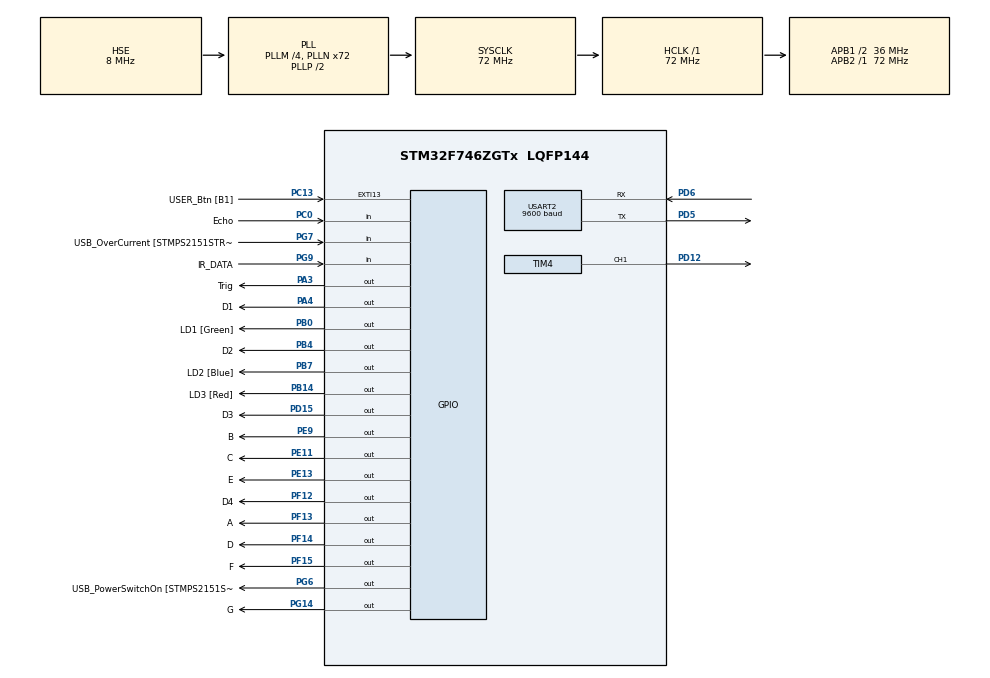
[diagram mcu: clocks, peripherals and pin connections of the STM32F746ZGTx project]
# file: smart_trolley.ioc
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FREERTOS.BinarySemaphores01=Perm,Dynamic,NULL
FREERTOS.Tasks01=defaultTask,0,128,StartDefaultTask,Default,NULL,Dynamic,NULL,NULL;czujnik,1,128,czujnik_init,Default,NULL,Dynamic,NULL,NULL;wyswietlacz,0,128,wyswietlacz_init,Default,NULL,Dynamic,NULL,NULL;pilot,0,128,pilot_init,Default,NULL,Dynamic,NULL,NULL
Mcu.Family=STM32F7
Mcu.Name=STM32F746ZGTx
Mcu.Package=LQFP144
NVIC.PriorityGroup=NVIC_PRIORITYGROUP_4
NVIC.TIM2_IRQn=true\:0\:0\:false\:false\:true\:false\:false\:true
NVIC.TimeBase=TIM2_IRQn
NVIC.TimeBaseIP=TIM2
PA1.GPIO_Label=RMII_REF_CLK [LAN8742A-CZ-TR_REFCLK0]
PA1.Signal=ETH_REF_CLK
PA10.GPIO_Label=USB_ID
PA10.Signal=USB_OTG_FS_ID
PA11.GPIO_Label=USB_DM
PA11.Signal=USB_OTG_FS_DM
PA12.GPIO_Label=USB_DP
PA12.Signal=USB_OTG_FS_DP
PA13.GPIO_Label=TMS
PA13.Mode=Serial_Wire
PA13.Signal=SYS_JTMS-SWDIO
PA14.GPIO_Label=TCK
PA14.Mode=Serial_Wire
PA14.Signal=SYS_JTCK-SWCLK
PA2.GPIO_Label=RMII_MDIO [LAN8742A-CZ-TR_MDIO]
PA2.Signal=ETH_MDIO
PA3.GPIO_Label=Trig
PA3.Signal=GPIO_Output
PA4.GPIO_Label=D1
PA4.Signal=GPIO_Output
PA7.GPIO_Label=RMII_CRS_DV [LAN8742A-CZ-TR_CRS_DV]
PA7.Signal=ETH_CRS_DV
PA8.GPIO_Label=USB_SOF [TP1]
PA8.Signal=USB_OTG_FS_SOF
PA9.GPIO_Label=USB_VBUS
PA9.Signal=USB_OTG_FS_VBUS
PB0.GPIO_Label=LD1 [Green]
PB0.Signal=GPIO_Output
PB13.GPIO_Label=RMII_TXD1 [LAN8742A-CZ-TR_TXD1]
PB13.Signal=ETH_TXD1
PB14.GPIO_Label=LD3 [Red]
PB14.Signal=GPIO_Output
PB3.GPIO_Label=SW0
PB3.Signal=SYS_JTDO-SWO
PB4.GPIO_Label=D2
PB4.Signal=GPIO_Output
PB7.GPIO_Label=LD2 [Blue]
PB7.Signal=GPIO_Output
PC0.GPIO_Label=Echo
PC0.Signal=GPIO_Input
PC1.GPIO_Label=RMII_MDC [LAN8742A-CZ-TR_MDC]
PC1.Signal=ETH_MDC
PC13.GPIO_Label=USER_Btn [B1]
PC13.Signal=GPXTI13
PC14/OSC32_IN.Mode=LSE-External-Oscillator
PC14/OSC32_IN.Signal=RCC_OSC32_IN
PC15/OSC32_OUT.Mode=LSE-External-Oscillator
PC15/OSC32_OUT.Signal=RCC_OSC32_OUT
PC4.GPIO_Label=RMII_RXD0 [LAN8742A-CZ-TR_RXD0]
PC4.Signal=ETH_RXD0
PC5.GPIO_Label=RMII_RXD1 [LAN8742A-CZ-TR_RXD1]
PC5.Signal=ETH_RXD1
PD12.Signal=S_TIM4_CH1
PD15.GPIO_Label=D3
PD15.Signal=GPIO_Output
PD5.Mode=Asynchronous
PD5.Signal=USART2_TX
PD6.Mode=Asynchronous
PD6.Signal=USART2_RX
PD8.GPIO_Label=STLK_RX [STM32F103CBT6_PA3]
PD8.Signal=USART3_TX
PD9.GPIO_Label=STLK_TX [STM32F103CBT6_PA2]
PD9.Signal=USART3_RX
PE11.GPIO_Label=C
PE11.Signal=GPIO_Output
PE13.GPIO_Label=E
PE13.Signal=GPIO_Output
PE9.GPIO_Label=B
PE9.Signal=GPIO_Output
PF12.GPIO_Label=D4
PF12.Signal=GPIO_Output
PF13.GPIO_Label=A
PF13.Signal=GPIO_Output
PF14.GPIO_Label=D
PF14.Signal=GPIO_Output
PF15.GPIO_Label=F
PF15.Signal=GPIO_Output
PG11.GPIO_Label=RMII_TX_EN [LAN8742A-CZ-TR_TXEN]
PG11.Signal=ETH_TX_EN
PG13.GPIO_Label=RMII_TXD0 [LAN8742A-CZ-TR_TXD0]
PG13.Signal=ETH_TXD0
PG14.GPIO_Label=G
PG14.Signal=GPIO_Output
PG6.GPIO_Label=USB_PowerSwitchOn [STMPS2151STR_EN]
PG6.Signal=GPIO_Output
PG7.GPIO_Label=USB_OverCurrent [STMPS2151STR_FAULT]
PG7.Signal=GPIO_Input
PG9.GPIO_Label=IR_DATA
PG9.Signal=GPIO_Input
PH0/OSC_IN.GPIO_Label=MCO [STM32F103CBT6_PA8]
PH0/OSC_IN.Mode=HSE-External-Clock-Source
PH0/OSC_IN.Signal=RCC_OSC_IN
PH1/OSC_OUT.Mode=HSE-External-Clock-Source
PH1/OSC_OUT.Signal=RCC_OSC_OUT
ProjectManager.HeapSize=0x200
ProjectManager.StackSize=0x400
ProjectManager.TargetToolchain=STM32CubeIDE
RCC.48MHZClocksFreq_Value=24000000
RCC.AHBFreq_Value=72000000
RCC.APB1CLKDivider=RCC_HCLK_DIV2
RCC.APB1Freq_Value=36000000
RCC.APB1TimFreq_Value=72000000
RCC.APB2Freq_Value=72000000
RCC.APB2TimFreq_Value=72000000
RCC.CortexFreq_Value=72000000
RCC.HCLKFreq_Value=72000000
RCC.HSE_VALUE=8000000
RCC.HSI_VALUE=16000000
RCC.PLLM=4
RCC.PLLMUL=RCC_PLL_MUL9
RCC.PLLN=72
RCC.PLLQ=3
RCC.PLLSourceVirtual=RCC_PLLSOURCE_HSE
RCC.PRESCALERUSB=RCC_USBCLKSOURCE_PLL_DIV1_5
RCC.SYSCLKFreq_VALUE=72000000
RCC.SYSCLKSource=RCC_SYSCLKSOURCE_PLLCLK
RCC.SYSCLKSourceVirtual=RCC_SYSCLKSOURCE_PLLCLK
RCC.USBFreq_Value=48000000
RCC.VCOOutputFreq_Value=144000000
SH.S_TIM4_CH1.0=TIM4_CH1,PWM Generation1 CH1
TIM1.Period=0xffff-1
TIM1.Prescaler=72-1
TIM3.Period=0xffff-1
TIM3.Prescaler=72-1
TIM4.Channel-PWM\ Generation1\ CH1=TIM_CHANNEL_1
TIM4.Period=20000-1
TIM4.Prescaler=72-1
USART2.BaudRate=9600
USART2.VirtualMode-Asynchronous=VM_ASYNC
VP_FREERTOS_VS_CMSIS_V1.Mode=CMSIS_V1
VP_SYS_VS_tim2.Mode=TIM2
VP_TIM1_VS_ClockSourceINT.Mode=Internal
VP_TIM3_VS_ClockSourceINT.Mode=Internal
board=NUCLEO-F746ZG

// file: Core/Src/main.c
/* USER CODE BEGIN Header */
/**
  ******************************************************************************
  * @file           : main.c
  * @brief          : Main program body
  ******************************************************************************
  * @attention
  *
  * <h2><center>&copy; Copyright (c) 2020 STMicroelectronics.
  * All rights reserved.</center></h2>
  *
  * This software component is licensed by ST under BSD 3-Clause license,
  * the "License"; You may not use this file except in compliance with the
  * License. You may obtain a copy of the License at:
  *                        opensource.org/licenses/BSD-3-Clause
  *
  ******************************************************************************
  */
/* USER CODE END Header */

#include "main.h"
#include "cmsis_os.h"
#include "tim.h"
#include "usart.h"
#include "gpio.h"

void SystemClock_Config(void);
void MX_FREERTOS_Init(void);

int main(void)
{

  /* MCU Configuration--------------------------------------------------------*/

  /* Reset of all peripherals, Initializes the Flash interface and the Systick. */
  HAL_Init();

  /* Configure the system clock */
  SystemClock_Config();

  /* Initialize all configured peripherals */
  MX_GPIO_Init();
  MX_TIM1_Init();
  MX_TIM3_Init();
  MX_TIM4_Init();
  MX_USART2_UART_Init();
  /* USER CODE BEGIN 2 */

  HAL_TIM_Base_Start(&htim1);
  HAL_TIM_Base_Start(&htim3);
  HAL_TIM_PWM_Start(&htim4, TIM_CHANNEL_1);

  /* USER CODE END 2 */

  /* Call init function for freertos objects (in freertos.c) */
  MX_FREERTOS_Init();

  /* Start scheduler */
  osKernelStart();

  /* We should never get here as control is now taken by the scheduler */

  /* Infinite loop */
  while (1)
  {

  }
}

void SystemClock_Config(void)
{
  RCC_OscInitTypeDef RCC_OscInitStruct = {0};
  RCC_ClkInitTypeDef RCC_ClkInitStruct = {0};
  RCC_PeriphCLKInitTypeDef PeriphClkInitStruct = {0};

  /** Configure LSE Drive Capability
  */
  HAL_PWR_EnableBkUpAccess();
  /** Configure the main internal regulator output voltage
  */
  __HAL_RCC_PWR_CLK_ENABLE();
  __HAL_PWR_VOLTAGESCALING_CONFIG(PWR_REGULATOR_VOLTAGE_SCALE3);
  /** Initializes the CPU, AHB and APB busses clocks
  */
  RCC_OscInitStruct.OscillatorType = RCC_OSCILLATORTYPE_HSE;
  RCC_OscInitStruct.HSEState = RCC_HSE_BYPASS;
  RCC_OscInitStruct.PLL.PLLState = RCC_PLL_ON;
  RCC_OscInitStruct.PLL.PLLSource = RCC_PLLSOURCE_HSE;
  RCC_OscInitStruct.PLL.PLLM = 4;
  RCC_OscInitStruct.PLL.PLLN = 72;
  RCC_OscInitStruct.PLL.PLLP = RCC_PLLP_DIV2;
  RCC_OscInitStruct.PLL.PLLQ = 3;
  if (HAL_RCC_OscConfig(&RCC_OscInitStruct) != HAL_OK)
  {
    Error_Handler();
  }
  /** Initializes the CPU, AHB and APB busses clocks
  */
  RCC_ClkInitStruct.ClockType = RCC_CLOCKTYPE_HCLK|RCC_CLOCKTYPE_SYSCLK
                              |RCC_CLOCKTYPE_PCLK1|RCC_CLOCKTYPE_PCLK2;
  RCC_ClkInitStruct.SYSCLKSource = RCC_SYSCLKSOURCE_PLLCLK;
  RCC_ClkInitStruct.AHBCLKDivider = RCC_SYSCLK_DIV1;
  RCC_ClkInitStruct.APB1CLKDivider = RCC_HCLK_DIV2;
  RCC_ClkInitStruct.APB2CLKDivider = RCC_HCLK_DIV1;

  if (HAL_RCC_ClockConfig(&RCC_ClkInitStruct, FLASH_LATENCY_2) != HAL_OK)
  {
    Error_Handler();
  }
  PeriphClkInitStruct.PeriphClockSelection = RCC_PERIPHCLK_USART2;
  PeriphClkInitStruct.Usart2ClockSelection = RCC_USART2CLKSOURCE_PCLK1;
  if (HAL_RCCEx_PeriphCLKConfig(&PeriphClkInitStruct) != HAL_OK)
  {
    Error_Handler();
  }
}

void HAL_TIM_PeriodElapsedCallback(TIM_HandleTypeDef *htim)
{
  if (htim->Instance == TIM2) {
    HAL_IncTick();
  }
}

void Error_Handler(void)
{
}

/************************ (C) COPYRIGHT STMicroelectronics *****END OF FILE****/

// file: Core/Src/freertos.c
/* USER CODE BEGIN Header */
/**
  ******************************************************************************
  * File Name          : freertos.c
  * Description        : Code for freertos applications
  ******************************************************************************
  * @attention
  *
  * <h2><center>&copy; Copyright (c) 2020 STMicroelectronics.
  * All rights reserved.</center></h2>
  *
  * This software component is licensed by ST under Ultimate Liberty license
  * SLA0044, the "License"; You may not use this file except in compliance with
  * the License. You may obtain a copy of the License at:
  *                             www.st.com/SLA0044
  *
  ******************************************************************************
  */
/* USER CODE END Header */

#include "FreeRTOS.h"
#include "task.h"
#include "main.h"
#include "cmsis_os.h"

/* USER CODE BEGIN Includes */

#include "functions.h"

/* USER CODE END Includes */

/* USER CODE BEGIN PM */

int what_to_display = 0; /*!< zmienna określająca tryb pracy wyswietlacza */
int button = 0; /*!< zmienna przechowująca wartość odczytaną z pilota */
int zezwolenie = 0; /*!< zezwolenie na wpisanie wartości zadanej (uruchomienie trybu odczytu) */

int cyfra_1 = 0; /*!< zmienna przechowująca cyfrę dziesiętnych sumy */
int cyfra_2 = 0; /*!< zmienna przechowująca cyfrę jedności sumy */
int sum = 0; /*!< suma (finałowa wartość zadana) */

int ostateczna = 0; /*!< zezwolenie na wykonanie algorytmu sterującego (zapętlenie programu w DefaultTask) */
int a = 0; /*!< ochrona przed przedwczesnym zezwoleniu na wpisanie wartosci zadanej (patrz 'zezwolenie') */

long ikk = 0; /*!< licznik odświeżania wyświetlacza */
int wartosc = 0; /*!< odświeżana wyświetlana wartość */

/* USER CODE END PM */

osThreadId defaultTaskHandle;
osThreadId czujnikHandle;
osThreadId wyswietlaczHandle;
osThreadId pilotHandle;
osSemaphoreId PermHandle;

void StartDefaultTask(void const * argument);
void czujnik_init(void const * argument);
void wyswietlacz_init(void const * argument);
void pilot_init(void const * argument);

void MX_FREERTOS_Init(void); /* (MISRA C 2004 rule 8.1) */

/* GetIdleTaskMemory prototype (linked to static allocation support) */
void vApplicationGetIdleTaskMemory( StaticTask_t **ppxIdleTaskTCBBuffer, StackType_t **ppxIdleTaskStackBuffer, uint32_t *pulIdleTaskStackSize );

/* USER CODE BEGIN GET_IDLE_TASK_MEMORY */
static StaticTask_t xIdleTaskTCBBuffer;
static StackType_t xIdleStack[configMINIMAL_STACK_SIZE];

void vApplicationGetIdleTaskMemory( StaticTask_t **ppxIdleTaskTCBBuffer, StackType_t **ppxIdleTaskStackBuffer, uint32_t *pulIdleTaskStackSize )
{
  *ppxIdleTaskTCBBuffer = &xIdleTaskTCBBuffer;
  *ppxIdleTaskStackBuffer = &xIdleStack[0];
  *pulIdleTaskStackSize = configMINIMAL_STACK_SIZE;
  /* place for user code */
}
/* USER CODE END GET_IDLE_TASK_MEMORY */

void MX_FREERTOS_Init(void) {

  /* Create the semaphores(s) */
  /* definition and creation of Perm */
  osSemaphoreDef(Perm);
  PermHandle = osSemaphoreCreate(osSemaphore(Perm), 1);

  /* Create the thread(s) */
  /* definition and creation of defaultTask */
  osThreadDef(defaultTask, StartDefaultTask, osPriorityBelowNormal, 0, 128);
  defaultTaskHandle = osThreadCreate(osThread(defaultTask), NULL);

  /* definition and creation of czujnik */
  osThreadDef(czujnik, czujnik_init, osPriorityNormal, 0, 128);
  czujnikHandle = osThreadCreate(osThread(czujnik), NULL);

  /* definition and creation of wyswietlacz */
  osThreadDef(wyswietlacz, wyswietlacz_init, osPriorityAboveNormal, 0, 128);
  wyswietlaczHandle = osThreadCreate(osThread(wyswietlacz), NULL);

  /* definition and creation of pilot */
  osThreadDef(pilot, pilot_init, osPriorityHigh, 0, 128);
  pilotHandle = osThreadCreate(osThread(pilot), NULL);

}

void StartDefaultTask(void const * argument)
{
  /* USER CODE BEGIN StartDefaultTask */
	servo_stop();
  /* Infinite loop */
  for(;;)
  {
	  /* powrót do wyświetlania rzeczywistej odległości (po wpisaniu wartości zadanej) */
	  if(what_to_display == 2)
	  {
		  HAL_Delay(2000);
		  what_to_display = 0;
		  ostateczna = 1;
	  }

	  /* warunek końcowy głównego algorytmu regulacji */
	  if(ostateczna == 1)
	  {
		 HAL_GPIO_WritePin(LD1_GPIO_Port, LD1_Pin,GPIO_PIN_SET);
		 osSemaphoreWait(PermHandle, osWaitForever);

		  /* głowna pętla algorytmu regulacji */
		 	do{

		 	/* bieżący odczyt odległości */
			 sensor_time = hcsr04_read();
			 distance = sensor_time/23;

			 /* regulator dwupołożeniowy sterujący serwomechanizmem */
				 if(distance > sum)
				 {
					 servo_forward();
				 }
				 else if(distance < sum)
				 {
					 servo_backward();
				 }
				 else if(distance < 2)
				 {
					 	//do_nothing
				 }
				 else
				 {
					 servo_stop();
					 HAL_Delay(20);
				 }

			/* eliminacja błędu z wyświetlaniem wartości 0 (czasem tak robiło nie wiem czemu) */
			if(wartosc != 0)
			 display(wartosc,10);

			 /* przypisywanie wartości zczytanej wartości wyświetlanej */
			 if(ikk == 0)
				 wartosc = distance;

			 ikk++;

			 /* aktualizacja wartości wyświetlanej (co 30 pętli) */
			 if(ikk == 30)
				 ikk = 0;

			 /* wyjście z pętli algorytmu regulacji (po wciśnięciu przycisku) */
			  if(HAL_GPIO_ReadPin (IR_DATA_GPIO_Port, IR_DATA_Pin) == GPIO_PIN_RESET)
			  {
				  HAL_GPIO_WritePin(LD2_GPIO_Port, LD2_Pin,GPIO_PIN_SET);

				  	  /*ustawianie flag na domyślną wartość*/
				  	  what_to_display = 0;
				  	  button = 0;
				  	  zezwolenie = 0;
				  	  cyfra_1 = 0;
				  	  cyfra_2 = 0;
				  	  sum = 0;
				  	  ostateczna = 0;

				 HAL_Delay(100);

				 	 a=0;

				 HAL_GPIO_WritePin(LD1_GPIO_Port, LD1_Pin,GPIO_PIN_RESET);
			  }
			 }while(ostateczna != 0);
		 }
	  	HAL_Delay(500);
		HAL_GPIO_WritePin(LD2_GPIO_Port, LD2_Pin,GPIO_PIN_RESET);
		osSemaphoreRelease(PermHandle);

    osDelay(1);
  }
  /* USER CODE END StartDefaultTask */
}

void czujnik_init(void const * argument)
{
  /* USER CODE BEGIN czujnik_init */
  /* Infinite loop */
  for(;;)
  {
	  osSemaphoreWait(PermHandle, osWaitForever);

	  /* cykliczny odczyt odległości */
	  sensor_time = hcsr04_read();
	  if(sensor_time/23 >= 2 && sensor_time/23 <= 50)
	  {
		  distance  = sensor_time / 23;
	  }
	  else if(sensor_time/23 > 50)
	  {
		  distance = 50;
	  }
	  else if (sensor_time/23 < 2)
	  {
		  distance = 1;
	  }
	  else;

	  osSemaphoreRelease(PermHandle);

	  HAL_Delay(200);

    osDelay(1);
  }
  /* USER CODE END czujnik_init */
}

void wyswietlacz_init(void const * argument)
{
  /* USER CODE BEGIN wyswietlacz_init */
  /* Infinite loop */
  for(;;)
  {
	osSemaphoreWait(PermHandle, osWaitForever);

	/*!
	* \brief wyświetlanie wartości na wyświetlaczu
	*
	* what_to_display == 0 -> wartość rzeczywista
	* what_to_display == 2 -> wartość zadana wyświetlana przez 2s, resetowana w DefautTask
	*/
	if(what_to_display == 0)
	{
		display(distance,50);
	}
	else if(what_to_display == 2)
	{
		sum = cyfra_1*10 + cyfra_2; /*!< obliczanie wartości zadanej */
		if(sum == 0)
		{
			sum = 2;
		}
		display(sum,50);
	}
	osSemaphoreRelease(PermHandle);

    osDelay(1);
  }
  /* USER CODE END wyswietlacz_init */
}

void pilot_init(void const * argument)
{
  /* USER CODE BEGIN pilot_init */
  /* Infinite loop */
  for(;;)
  {
	  /* odczyt po wyjściu z pętli algorytmu sterowania lub początku programu (tylko jednorazowo) */
	  if(ostateczna == 0)
	  {
		  /* oczekiwanie na zezwolenie wpisania wartości (patrz niżej) */
		  if(zezwolenie == 1)
		  {
		  osSemaphoreWait(PermHandle, osWaitForever);
		  HAL_Delay(600);

		  /* odczyt z pilota */
		  while(HAL_GPIO_ReadPin (IR_DATA_GPIO_Port, IR_DATA_Pin));

	  		  data = receive_data ();

	  		/* konwersja danych na cyfry */
	  		if(convert_code (data)>=0 && convert_code (data) <=9)
	  		{
	  			button = convert_code (data);
	  		}
	  		else if (convert_code (data) == 100)
	  		{
	  			button = 100;
	  		}
	  		HAL_Delay(200);

	  		/* zapisywanie kolejnych cyfr do pamięci */
	  		if(what_to_display == 0)
	  		{
	  			what_to_display = 1;
	  			cyfra_1 = button;
	  			HAL_GPIO_WritePin(LD2_GPIO_Port, LD2_Pin,GPIO_PIN_SET);
	  			display(cyfra_1,400);
	  			HAL_Delay(500);
	  			HAL_GPIO_WritePin(LD2_GPIO_Port, LD2_Pin,GPIO_PIN_RESET);
	  			screenOFF();
	  		}
	  		else if(what_to_display == 1)
	  		{
	  			what_to_display = 2;
	  			cyfra_2 = button;
	  			HAL_GPIO_WritePin(LD2_GPIO_Port, LD2_Pin,GPIO_PIN_SET);
	  			display(cyfra_2,400);
	  			HAL_Delay(500);
	  			HAL_GPIO_WritePin(LD2_GPIO_Port, LD2_Pin,GPIO_PIN_RESET);
	  			screenOFF();
	  			zezwolenie = 0;
	  			HAL_GPIO_WritePin(LD3_GPIO_Port, LD3_Pin,GPIO_PIN_RESET); //sygnalizacja zezwolenia wpisania wartości
	  		}

	  		osSemaphoreRelease(PermHandle);
	  }
	  else;

	  /* zezwolenie na wpisanie wartości */
	  if(HAL_GPIO_ReadPin (IR_DATA_GPIO_Port, IR_DATA_Pin) == GPIO_PIN_RESET && a == 0 && HAL_GPIO_ReadPin (LD2_GPIO_Port, LD2_Pin) == GPIO_PIN_RESET)
	  {
		  HAL_GPIO_WritePin(LD3_GPIO_Port, LD3_Pin,GPIO_PIN_SET);
		  zezwolenie = 1;
		  a=1;
		  screenOFF();
		  HAL_Delay(100);
	  }
	  else;

	  }
	  else;
    osDelay(1);
  }
  /* USER CODE END pilot_init */
}

/************************ (C) COPYRIGHT STMicroelectronics *****END OF FILE****/
